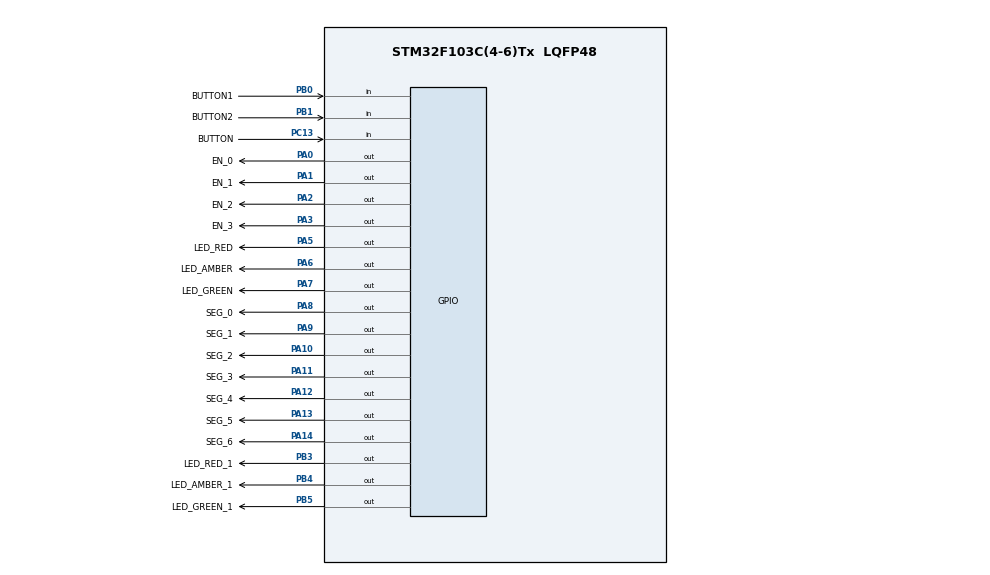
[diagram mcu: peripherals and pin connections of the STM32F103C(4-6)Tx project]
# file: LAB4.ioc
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Mcu.Family=STM32F1
Mcu.Name=STM32F103C(4-6)Tx
Mcu.Package=LQFP48
NVIC.PriorityGroup=NVIC_PRIORITYGROUP_4
NVIC.TIM2_IRQn=true\:0\:0\:false\:false\:true\:true\:true
PA0-WKUP.GPIO_Label=EN_0
PA0-WKUP.Signal=GPIO_Output
PA1.GPIO_Label=EN_1
PA1.Signal=GPIO_Output
PA10.GPIO_Label=SEG_2
PA10.Signal=GPIO_Output
PA11.GPIO_Label=SEG_3
PA11.Signal=GPIO_Output
PA12.GPIO_Label=SEG_4
PA12.Signal=GPIO_Output
PA13.GPIO_Label=SEG_5
PA13.Signal=GPIO_Output
PA14.GPIO_Label=SEG_6
PA14.Signal=GPIO_Output
PA2.GPIO_Label=EN_2
PA2.Signal=GPIO_Output
PA3.GPIO_Label=EN_3
PA3.Signal=GPIO_Output
PA5.GPIO_Label=LED_RED
PA5.Signal=GPIO_Output
PA6.GPIO_Label=LED_AMBER
PA6.Signal=GPIO_Output
PA7.GPIO_Label=LED_GREEN
PA7.Signal=GPIO_Output
PA8.GPIO_Label=SEG_0
PA8.Signal=GPIO_Output
PA9.GPIO_Label=SEG_1
PA9.Signal=GPIO_Output
PB0.GPIO_Label=BUTTON1
PB0.GPIO_PuPd=GPIO_PULLUP
PB0.Signal=GPIO_Input
PB1.GPIO_Label=BUTTON2
PB1.GPIO_PuPd=GPIO_PULLUP
PB1.Signal=GPIO_Input
PB3.GPIO_Label=LED_RED_1
PB3.Signal=GPIO_Output
PB4.GPIO_Label=LED_AMBER_1
PB4.Signal=GPIO_Output
PB5.GPIO_Label=LED_GREEN_1
PB5.Signal=GPIO_Output
PC13-TAMPER-RTC.GPIO_Label=BUTTON
PC13-TAMPER-RTC.GPIO_PuPd=GPIO_PULLUP
PC13-TAMPER-RTC.Signal=GPIO_Input
ProjectManager.HeapSize=0x200
ProjectManager.StackSize=0x400
ProjectManager.TargetToolchain=STM32CubeIDE
RCC.APB1Freq_Value=8000000
RCC.APB2Freq_Value=8000000
TIM2.Period=9
TIM2.Prescaler=7999
VP_SYS_VS_ND.Mode=No_Debug
VP_TIM2_VS_ClockSourceINT.Mode=Internal
board=custom

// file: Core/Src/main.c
/* USER CODE BEGIN Header */
/**
  ******************************************************************************
  * @file           : main.c
  * @brief          : Main program body
  ******************************************************************************
  * @attention
  *
  * <h2><center>&copy; Copyright (c) 2024 STMicroelectronics.
  * All rights reserved.</center></h2>
  *
  * This software component is licensed by ST under BSD 3-Clause license,
  * the "License"; You may not use this file except in compliance with the
  * License. You may obtain a copy of the License at:
  *                        opensource.org/licenses/BSD-3-Clause
  *
  ******************************************************************************
  */
/* USER CODE END Header */
#include "main.h"

/* USER CODE BEGIN Includes */
#include "scheduler.h"
#include "fsm_auto_man.h"
#include "display_7seg.h"
/* USER CODE END Includes */

TIM_HandleTypeDef htim2;

void SystemClock_Config(void);
static void MX_GPIO_Init(void);
static void MX_TIM2_Init(void);

/* USER CODE BEGIN 0 */
void init() {
	status = INIT;
	setTimer(1, 10);
	setTimer(2, 10);
}
/* USER CODE END 0 */

int main(void)
{

  /* MCU Configuration--------------------------------------------------------*/

  /* Reset of all peripherals, Initializes the Flash interface and the Systick. */
  HAL_Init();

  /* Configure the system clock */
  SystemClock_Config();

  /* Initialize all configured peripherals */
  MX_GPIO_Init();
  MX_TIM2_Init();
  /* USER CODE BEGIN 2 */
  HAL_TIM_Base_Start_IT(&htim2);
  /* USER CODE END 2 */

  /* Infinite loop */
  /* USER CODE BEGIN WHILE */
  SCH_Add_Task(init, 0, 0);
  SCH_Add_Task(fsm_auto_man_run, 0, 10);
  SCH_Add_Task(display_7seg_run, 0, 10);
  SCH_Add_Task(timerRun, 0, 10);
  SCH_Add_Task(getKeyInput, 0, 10);
  while (1)
  {
	  SCH_Dispatch_Tasks();
    /* USER CODE END WHILE */

  }
}

void SystemClock_Config(void)
{
  RCC_OscInitTypeDef RCC_OscInitStruct = {0};
  RCC_ClkInitTypeDef RCC_ClkInitStruct = {0};

  /** Initializes the RCC Oscillators according to the specified parameters
  * in the RCC_OscInitTypeDef structure.
  */
  RCC_OscInitStruct.OscillatorType = RCC_OSCILLATORTYPE_HSI;
  RCC_OscInitStruct.HSIState = RCC_HSI_ON;
  RCC_OscInitStruct.HSICalibrationValue = RCC_HSICALIBRATION_DEFAULT;
  RCC_OscInitStruct.PLL.PLLState = RCC_PLL_NONE;
  if (HAL_RCC_OscConfig(&RCC_OscInitStruct) != HAL_OK)
  {
    Error_Handler();
  }
  /** Initializes the CPU, AHB and APB buses clocks
  */
  RCC_ClkInitStruct.ClockType = RCC_CLOCKTYPE_HCLK|RCC_CLOCKTYPE_SYSCLK
                              |RCC_CLOCKTYPE_PCLK1|RCC_CLOCKTYPE_PCLK2;
  RCC_ClkInitStruct.SYSCLKSource = RCC_SYSCLKSOURCE_HSI;
  RCC_ClkInitStruct.AHBCLKDivider = RCC_SYSCLK_DIV1;
  RCC_ClkInitStruct.APB1CLKDivider = RCC_HCLK_DIV1;
  RCC_ClkInitStruct.APB2CLKDivider = RCC_HCLK_DIV1;

  if (HAL_RCC_ClockConfig(&RCC_ClkInitStruct, FLASH_LATENCY_0) != HAL_OK)
  {
    Error_Handler();
  }
}

static void MX_TIM2_Init(void)
{

  TIM_ClockConfigTypeDef sClockSourceConfig = {0};
  TIM_MasterConfigTypeDef sMasterConfig = {0};

  htim2.Instance = TIM2;
  htim2.Init.Prescaler = 7999;
  htim2.Init.CounterMode = TIM_COUNTERMODE_UP;
  htim2.Init.Period = 9;
  htim2.Init.ClockDivision = TIM_CLOCKDIVISION_DIV1;
  htim2.Init.AutoReloadPreload = TIM_AUTORELOAD_PRELOAD_DISABLE;
  if (HAL_TIM_Base_Init(&htim2) != HAL_OK)
  {
    Error_Handler();
  }
  sClockSourceConfig.ClockSource = TIM_CLOCKSOURCE_INTERNAL;
  if (HAL_TIM_ConfigClockSource(&htim2, &sClockSourceConfig) != HAL_OK)
  {
    Error_Handler();
  }
  sMasterConfig.MasterOutputTrigger = TIM_TRGO_RESET;
  sMasterConfig.MasterSlaveMode = TIM_MASTERSLAVEMODE_DISABLE;
  if (HAL_TIMEx_MasterConfigSynchronization(&htim2, &sMasterConfig) != HAL_OK)
  {
    Error_Handler();
  }

}

static void MX_GPIO_Init(void)
{
  GPIO_InitTypeDef GPIO_InitStruct = {0};

  /* GPIO Ports Clock Enable */
  __HAL_RCC_GPIOC_CLK_ENABLE();
  __HAL_RCC_GPIOA_CLK_ENABLE();
  __HAL_RCC_GPIOB_CLK_ENABLE();

  /*Configure GPIO pin Output Level */
  HAL_GPIO_WritePin(GPIOA, EN_0_Pin|EN_1_Pin|EN_2_Pin|EN_3_Pin
                          |LED_RED_Pin|LED_AMBER_Pin|LED_GREEN_Pin|SEG_0_Pin
                          |SEG_1_Pin|SEG_2_Pin|SEG_3_Pin|SEG_4_Pin
                          |SEG_5_Pin|SEG_6_Pin, GPIO_PIN_RESET);

  /*Configure GPIO pin Output Level */
  HAL_GPIO_WritePin(GPIOB, LED_RED_1_Pin|LED_AMBER_1_Pin|LED_GREEN_1_Pin, GPIO_PIN_RESET);

  /*Configure GPIO pin : BUTTON_Pin */
  GPIO_InitStruct.Pin = BUTTON_Pin;
  GPIO_InitStruct.Mode = GPIO_MODE_INPUT;
  GPIO_InitStruct.Pull = GPIO_PULLUP;
  HAL_GPIO_Init(BUTTON_GPIO_Port, &GPIO_InitStruct);

  /*Configure GPIO pins : EN_0_Pin EN_1_Pin EN_2_Pin EN_3_Pin
                           LED_RED_Pin LED_AMBER_Pin LED_GREEN_Pin SEG_0_Pin
                           SEG_1_Pin SEG_2_Pin SEG_3_Pin SEG_4_Pin
                           SEG_5_Pin SEG_6_Pin */
  GPIO_InitStruct.Pin = EN_0_Pin|EN_1_Pin|EN_2_Pin|EN_3_Pin
                          |LED_RED_Pin|LED_AMBER_Pin|LED_GREEN_Pin|SEG_0_Pin
                          |SEG_1_Pin|SEG_2_Pin|SEG_3_Pin|SEG_4_Pin
                          |SEG_5_Pin|SEG_6_Pin;
  GPIO_InitStruct.Mode = GPIO_MODE_OUTPUT_PP;
  GPIO_InitStruct.Pull = GPIO_NOPULL;
  GPIO_InitStruct.Speed = GPIO_SPEED_FREQ_LOW;
  HAL_GPIO_Init(GPIOA, &GPIO_InitStruct);

  /*Configure GPIO pins : BUTTON1_Pin BUTTON2_Pin */
  GPIO_InitStruct.Pin = BUTTON1_Pin|BUTTON2_Pin;
  GPIO_InitStruct.Mode = GPIO_MODE_INPUT;
  GPIO_InitStruct.Pull = GPIO_PULLUP;
  HAL_GPIO_Init(GPIOB, &GPIO_InitStruct);

  /*Configure GPIO pins : LED_RED_1_Pin LED_AMBER_1_Pin LED_GREEN_1_Pin */
  GPIO_InitStruct.Pin = LED_RED_1_Pin|LED_AMBER_1_Pin|LED_GREEN_1_Pin;
  GPIO_InitStruct.Mode = GPIO_MODE_OUTPUT_PP;
  GPIO_InitStruct.Pull = GPIO_NOPULL;
  GPIO_InitStruct.Speed = GPIO_SPEED_FREQ_LOW;
  HAL_GPIO_Init(GPIOB, &GPIO_InitStruct);

}

/* USER CODE BEGIN 4 */
void HAL_TIM_PeriodElapsedCallback(TIM_HandleTypeDef *htim) {
	SCH_Update();
}
/* USER CODE END 4 */

void Error_Handler(void)
{
  __disable_irq();
  while (1)
  {
  }
}

/************************ (C) COPYRIGHT STMicroelectronics *****END OF FILE****/
